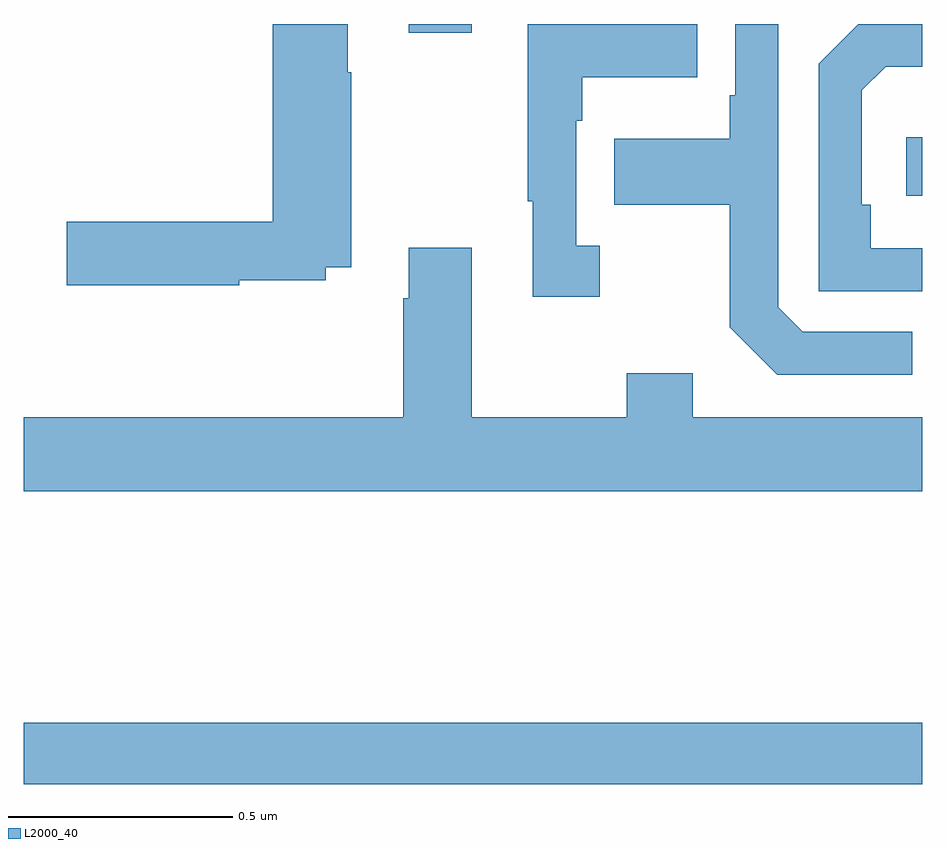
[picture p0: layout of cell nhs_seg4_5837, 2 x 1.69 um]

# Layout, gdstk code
import gdstk
lib = gdstk.Library(unit=1e-6, precision=1e-09)
def R(c, l, rs):  # rectangles x0, y0, x1, y1
    for r in rs: c.add(gdstk.rectangle(r[:2], r[2:], *l))
def P(c, l, *ps):  # polygons
    for p in ps: c.add(gdstk.Polygon(p, *l))
L2000_40 = (2000, 40)

nhs_seg4_5837 = lib.new_cell('nhs_seg4_5837')
R(nhs_seg4_5837, L2000_40, [(183,756.208,185,756.344), (184.965,757.518,185,757.648), (183.857,757.881,183.997,757.9)])
P(nhs_seg4_5837, L2000_40, [(184.978,757.215),(184.734,757.215),(184.68,757.269),(184.68,757.9),(184.584,757.9),(184.584,757.741),(184.572,757.741),(184.572,757.645),(184.315,757.645),(184.315,757.498),(184.572,757.498),(184.572,757.225),(184.677,757.119),(184.978,757.119)],
  [(183.48,757.33),(183.672,757.33),(183.672,757.358),(183.729,757.358),(183.729,757.793),(183.721,757.793),(183.721,757.9),(183.554,757.9),(183.554,757.46),(183.096,757.46),(183.096,757.318),(183.48,757.318)],
  [(185,757.401),(184.886,757.401),(184.886,757.498),(184.866,757.498),(184.866,757.752),(184.919,757.805),(185,757.805),(185,757.9),(184.858,757.9),(184.77,757.812),(184.77,757.305),(185,757.305)],
  [(184.282,757.406),(184.23,757.406),(184.23,757.685),(184.243,757.685),(184.243,757.781),(184.499,757.781),(184.499,757.9),(184.122,757.9),(184.122,757.505),(184.133,757.505),(184.133,757.293),(184.282,757.293)],
  [(185,757.024),(184.489,757.024),(184.489,757.123),(184.342,757.123),(184.342,757.024),(183.997,757.024),(183.997,757.402),(183.857,757.402),(183.857,757.289),(183.845,757.289),(183.845,757.024),(183,757.024),(183,756.86),(185,756.86)])

lib.write_gds('nhs_seg4_5837.gds')
